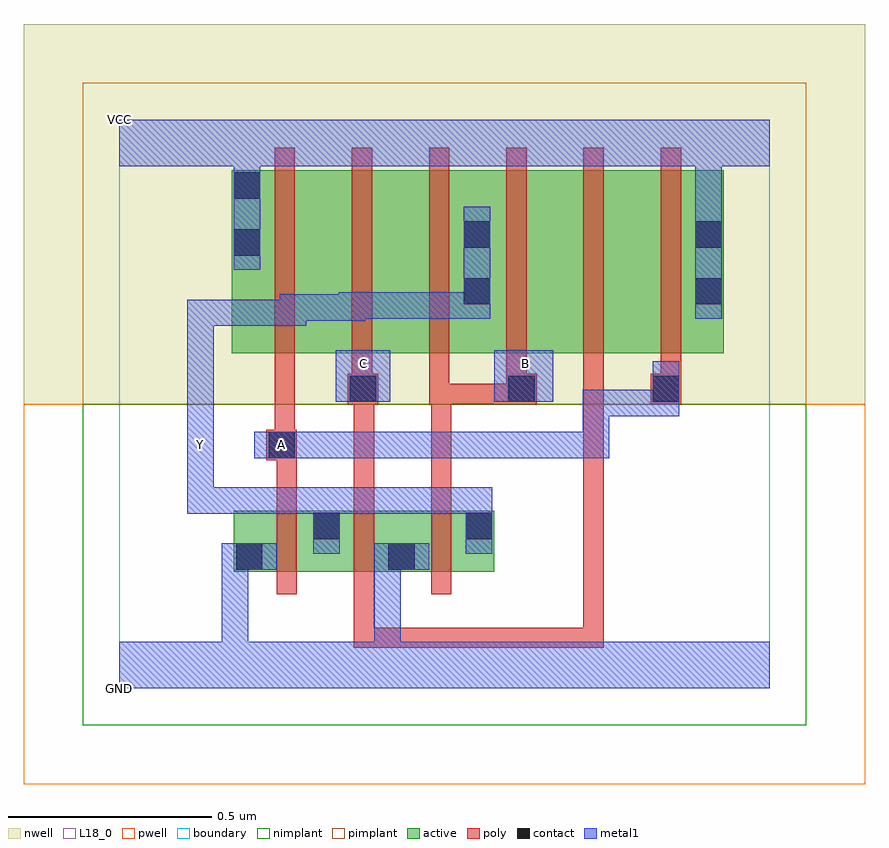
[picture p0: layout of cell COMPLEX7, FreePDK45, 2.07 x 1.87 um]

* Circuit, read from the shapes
.subckt COMPLEX7 A B C GND VCC Y
M1 Y A GND VSUBS nfet w=0.15u l=0.05u
M2 GND C Y VSUBS nfet w=0.15u l=0.05u
M3 Y B GND VSUBS nfet w=0.15u l=0.05u
M4 n1 A VCC n2 pfet w=0.45u l=0.05u
M5 n3 C n1 n2 pfet w=0.45u l=0.05u
M6 Y B n3 n2 pfet w=0.45u l=0.05u
M7 n4 B Y n2 pfet w=0.45u l=0.05u
M8 n5 C n4 n2 pfet w=0.45u l=0.05u
M9 VCC A n5 n2 pfet w=0.45u l=0.05u
.ends

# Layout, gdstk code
import gdstk
lib = gdstk.Library(unit=1e-6, precision=1e-09)
def R(c, l, rs):  # rectangles x0, y0, x1, y1
    for r in rs: c.add(gdstk.rectangle(r[:2], r[2:], *l))
def A(c, l, x, y, w, h, nx, ny, dx, dy):  # array of equal rectangles
    R(c, l, [(x+i*dx, y+j*dy, x+i*dx+w, y+j*dy+h) for i in range(nx) for j in range(ny)])
active = (1, 0)
pwell = (2, 0)
nwell = (3, 0)
nimplant = (4, 0)
pimplant = (5, 0)
poly = (9, 0)
contact = (10, 0)
metal1 = (11, 0)
L18_0 = (18, 0)
boundary = (235, 0)

complex7 = lib.new_cell('COMPLEX7')
R(complex7, active, [(0.282,0.287,0.547,0.437), (0.282,0.287,0.357,0.437), (0.472,0.287,0.732,0.437), (0.472,0.287,0.547,0.437), (0.657,0.287,0.732,0.362), (0.657,0.287,0.922,0.437), (0.847,0.362,0.922,0.437), (0.277,0.825,0.502,1.275), (0.277,0.825,0.352,1.275), (0.502,0.825,0.692,1.275), (0.692,0.825,0.917,1.275), (0.842,0.825,1.072,1.275), (1.072,0.825,1.262,1.275), (1.262,0.825,1.487,1.275), (1.412,0.825,1.487,1.205), (0.842,0.857,0.917,1.2)])
R(complex7, pwell, [(-0.235,-0.235,1.835,0.7)])
R(complex7, nwell, [(-0.235,0.7,1.835,1.635)])
R(complex7, nimplant, [(-0.09,-0.09,1.69,0.7)])
R(complex7, pimplant, [(-0.09,0.7,1.69,1.49)])
A(complex7, poly, 0.387, 0.232, 0.05, 0.26, 3, 1, 0.19, 0)
A(complex7, poly, 0.572, 0.725, 0.05, 0.095, 3, 1, 0.38, 0)
A(complex7, poly, 0.382, 0.77, 0.05, 0.56, 6, 1, 0.19, 0)
R(complex7, poly, [(0.577,0.1,0.627,0.15), (0.577,0.1,0.627,0.15), (0.577,0.1,0.627,0.15), (0.577,0.1,0.775,0.15), (0.577,0.1,0.627,0.282), (0.725,0.1,0.775,0.15), (0.725,0.1,0.775,0.15), (0.725,0.1,0.775,0.15), (0.725,0.1,1.035,0.15), (0.985,0.1,1.035,0.15), (0.985,0.1,1.035,0.15), (0.985,0.1,1.035,0.15), (0.985,0.1,1.035,0.15), (0.985,0.1,1.035,0.15), (0.985,0.1,1.035,0.15), (0.985,0.1,1.035,0.15), (0.985,0.1,1.192,0.15), (1.142,0.1,1.192,0.15), (1.142,0.1,1.192,0.15), (1.142,0.1,1.192,0.15), (1.142,0.1,1.192,0.15), (1.142,0.1,1.192,0.15), (1.142,0.1,1.192,0.82), (0.387,0.442,0.437,0.612), (0.577,0.442,0.627,0.75), (0.767,0.442,0.817,0.75), (0.362,0.562,0.437,0.637), (0.382,0.587,0.432,0.637), (0.382,0.587,0.432,0.637), (0.382,0.587,0.432,0.82), (0.562,0.7,0.637,0.775), (0.577,0.7,0.627,0.75), (0.577,0.7,0.627,0.75), (0.762,0.7,0.812,0.82), (0.762,0.7,0.817,0.75), (0.767,0.7,0.817,0.75), (0.767,0.7,0.817,0.75), (0.767,0.7,0.817,0.75), (0.767,0.7,0.817,0.75), (0.767,0.7,1.002,0.75), (0.952,0.7,1.027,0.775), (1.307,0.7,1.382,0.775), (1.332,0.725,1.382,0.775), (1.332,0.725,1.382,0.775)])
R(complex7, contact, [(0.287,0.292,0.352,0.357), (0.662,0.292,0.727,0.357), (0.477,0.367,0.542,0.432), (0.852,0.367,0.917,0.432), (0.367,0.567,0.432,0.632), (0.567,0.705,0.632,0.77), (0.957,0.705,1.022,0.77), (1.312,0.705,1.377,0.77), (0.847,0.945,0.912,1.01), (1.417,0.945,1.482,1.01), (0.282,1.065,0.347,1.13), (0.847,1.085,0.912,1.15), (1.417,1.085,1.482,1.15), (0.282,1.205,0.347,1.27)])
R(complex7, metal1, [(0,0,1.6,0.115), (0.252,0.05,0.317,0.115), (0.252,0.05,0.317,0.115), (0.252,0.05,0.317,0.115), (0.252,0.05,0.317,0.115), (0.252,0.05,0.317,0.357), (0.627,0.05,0.692,0.115), (0.627,0.05,0.692,0.115), (0.627,0.05,0.692,0.357), (0.252,0.292,0.387,0.357), (0.627,0.292,0.692,0.357), (0.627,0.292,0.692,0.357), (0.627,0.292,0.762,0.357), (0.477,0.332,0.542,0.495), (0.852,0.332,0.917,0.495), (0.167,0.43,0.232,0.495), (0.167,0.43,0.232,0.495), (0.167,0.43,0.232,0.495), (0.167,0.43,0.232,0.495), (0.167,0.43,0.542,0.495), (0.167,0.43,0.232,0.667), (0.477,0.43,0.605,0.495), (0.54,0.43,0.605,0.495), (0.54,0.43,0.742,0.495), (0.677,0.43,0.742,0.495), (0.677,0.43,0.742,0.495), (0.677,0.43,0.742,0.495), (0.677,0.43,0.917,0.495), (0.332,0.567,0.467,0.632), (0.402,0.567,0.467,0.632), (0.402,0.567,0.467,0.632), (0.402,0.567,0.605,0.632), (0.54,0.567,0.605,0.632), (0.54,0.567,0.767,0.632), (0.702,0.567,0.767,0.632), (0.702,0.567,0.767,0.632), (0.702,0.567,0.767,0.632), (0.702,0.567,0.905,0.632), (0.84,0.567,0.905,0.632), (0.84,0.567,0.905,0.632), (0.84,0.567,0.905,0.632), (0.84,0.567,1.042,0.632), (0.977,0.567,1.042,0.632), (0.977,0.567,1.205,0.632), (1.14,0.567,1.205,0.632), (1.14,0.567,1.205,0.632), (1.14,0.567,1.205,0.735), (0.167,0.602,0.232,0.957), (1.14,0.67,1.377,0.735), (1.312,0.67,1.377,0.805), (0.532,0.705,0.667,0.832), (0.922,0.705,1.067,0.832), (0.167,0.892,0.232,0.957), (0.167,0.892,0.232,0.957), (0.167,0.892,0.232,0.957), (0.167,0.892,0.46,0.957), (0.395,0.892,0.46,0.957), (0.395,0.892,0.46,0.957), (0.395,0.892,0.46,0.97), (0.395,0.905,0.605,0.97), (0.54,0.905,0.605,0.975), (0.54,0.91,0.767,0.975), (0.702,0.91,0.767,0.975), (0.702,0.91,0.767,0.975), (0.702,0.91,0.767,0.975), (0.702,0.91,0.912,0.975), (0.847,0.91,0.912,1.185), (1.417,0.91,1.482,1.185), (0.282,1.03,0.347,1.305), (1.417,1.12,1.482,1.35), (0.282,1.24,0.347,1.35), (0,1.285,1.6,1.4)])
R(complex7, L18_0, [(0,0,1.6,0.115), (0.252,0.05,0.317,0.115), (0.252,0.05,0.317,0.115), (0.252,0.05,0.317,0.115), (0.252,0.05,0.317,0.115), (0.252,0.05,0.317,0.357), (0.627,0.05,0.692,0.115), (0.627,0.05,0.692,0.115), (0.627,0.05,0.692,0.357), (0.252,0.292,0.387,0.357), (0.627,0.292,0.692,0.357), (0.627,0.292,0.692,0.357), (0.627,0.292,0.762,0.357), (0.477,0.332,0.542,0.495), (0.852,0.332,0.917,0.495), (0.167,0.43,0.232,0.495), (0.167,0.43,0.232,0.495), (0.167,0.43,0.232,0.495), (0.167,0.43,0.232,0.495), (0.167,0.43,0.232,0.667), (0.167,0.43,0.542,0.495), (0.477,0.43,0.605,0.495), (0.54,0.43,0.605,0.495), (0.54,0.43,0.742,0.495), (0.677,0.43,0.742,0.495), (0.677,0.43,0.742,0.495), (0.677,0.43,0.742,0.495), (0.677,0.43,0.917,0.495), (0.167,0.567,0.232,0.632), (0.332,0.567,0.467,0.632), (0.367,0.567,0.432,0.632), (0.402,0.567,0.467,0.632), (0.402,0.567,0.467,0.632), (0.402,0.567,0.605,0.632), (0.54,0.567,0.605,0.632), (0.54,0.567,0.767,0.632), (0.702,0.567,0.767,0.632), (0.702,0.567,0.767,0.632), (0.702,0.567,0.767,0.632), (0.702,0.567,0.905,0.632), (0.84,0.567,0.905,0.632), (0.84,0.567,0.905,0.632), (0.84,0.567,0.905,0.632), (0.84,0.567,1.042,0.632), (0.977,0.567,1.042,0.632), (0.977,0.567,1.205,0.632), (1.14,0.567,1.205,0.632), (1.14,0.567,1.205,0.632), (1.14,0.567,1.205,0.735), (0.167,0.602,0.232,0.957), (1.14,0.67,1.377,0.735), (1.312,0.67,1.377,0.805), (0.532,0.705,0.667,0.832), (0.922,0.705,1.067,0.832), (0.567,0.767,0.632,0.832), (0.967,0.767,1.032,0.832), (0.167,0.892,0.232,0.957), (0.167,0.892,0.232,0.957), (0.167,0.892,0.232,0.957), (0.167,0.892,0.46,0.957), (0.395,0.892,0.46,0.957), (0.395,0.892,0.46,0.957), (0.395,0.892,0.46,0.97), (0.395,0.905,0.605,0.97), (0.54,0.905,0.605,0.975), (0.54,0.91,0.767,0.975), (0.702,0.91,0.767,0.975), (0.702,0.91,0.767,0.975), (0.702,0.91,0.767,0.975), (0.702,0.91,0.912,0.975), (0.847,0.91,0.912,1.185), (1.417,0.91,1.482,1.185), (0.282,1.03,0.347,1.305), (1.417,1.12,1.482,1.35), (0.282,1.24,0.347,1.35), (0,1.285,1.6,1.4)])
R(complex7, boundary, [(0,0,1.6,1.4)])
complex7.add(gdstk.Label('A', (0.4,0.6), layer=11, texttype=0))
complex7.add(gdstk.Label('B', (1,0.8), layer=11, texttype=0))
complex7.add(gdstk.Label('C', (0.6,0.8), layer=11, texttype=0))
complex7.add(gdstk.Label('Y', (0.2,0.6), layer=11, texttype=0))
complex7.add(gdstk.Label('VCC', (0,1.4), layer=11, texttype=0))
complex7.add(gdstk.Label('GND', (0,0), layer=11, texttype=0))

lib.write_gds('COMPLEX7.gds')
